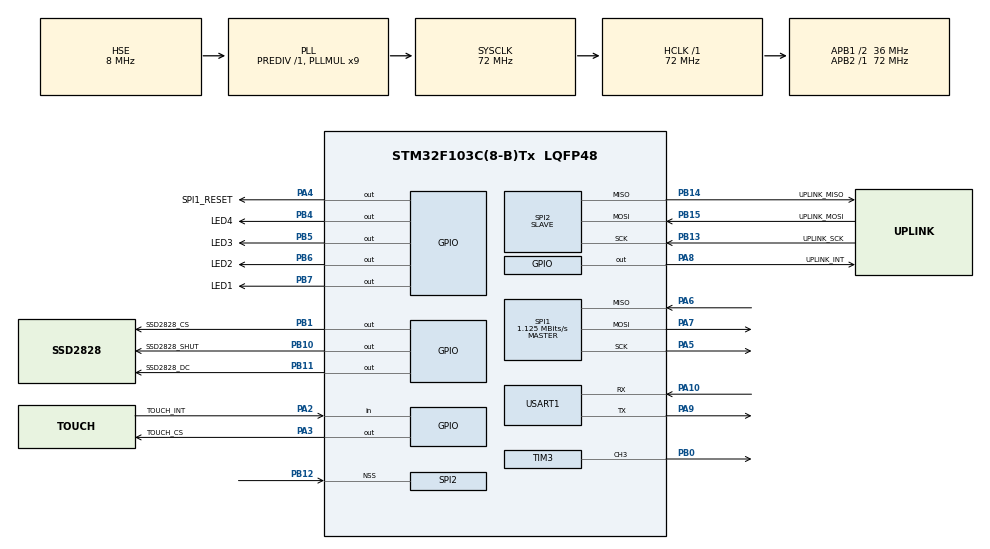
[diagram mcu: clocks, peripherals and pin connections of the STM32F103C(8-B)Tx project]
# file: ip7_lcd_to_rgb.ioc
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Dma.Request0=SPI2_TX
Dma.Request1=SPI2_RX
Dma.SPI2_RX.1.Direction=DMA_PERIPH_TO_MEMORY
Dma.SPI2_RX.1.Instance=DMA1_Channel4
Dma.SPI2_RX.1.MemDataAlignment=DMA_MDATAALIGN_BYTE
Dma.SPI2_RX.1.MemInc=DMA_MINC_ENABLE
Dma.SPI2_RX.1.Mode=DMA_NORMAL
Dma.SPI2_RX.1.PeriphDataAlignment=DMA_PDATAALIGN_BYTE
Dma.SPI2_RX.1.PeriphInc=DMA_PINC_DISABLE
Dma.SPI2_RX.1.Priority=DMA_PRIORITY_LOW
Dma.SPI2_TX.0.Direction=DMA_MEMORY_TO_PERIPH
Dma.SPI2_TX.0.Instance=DMA1_Channel5
Dma.SPI2_TX.0.MemDataAlignment=DMA_MDATAALIGN_BYTE
Dma.SPI2_TX.0.MemInc=DMA_MINC_ENABLE
Dma.SPI2_TX.0.Mode=DMA_NORMAL
Dma.SPI2_TX.0.PeriphDataAlignment=DMA_PDATAALIGN_BYTE
Dma.SPI2_TX.0.PeriphInc=DMA_PINC_DISABLE
Dma.SPI2_TX.0.Priority=DMA_PRIORITY_MEDIUM
Mcu.Family=STM32F1
Mcu.Name=STM32F103C(8-B)Tx
Mcu.Package=LQFP48
NVIC.DMA1_Channel4_IRQn=true\:1\:0\:true\:false\:true\:false\:true\:true
NVIC.DMA1_Channel5_IRQn=true\:1\:0\:true\:false\:true\:false\:true\:true
NVIC.PriorityGroup=NVIC_PRIORITYGROUP_4
NVIC.SPI2_IRQn=true\:2\:0\:true\:false\:true\:true\:true\:true
PA10.Mode=Asynchronous
PA10.Signal=USART1_RX
PA13.Mode=Serial_Wire
PA13.Signal=SYS_JTMS-SWDIO
PA14.Mode=Serial_Wire
PA14.Signal=SYS_JTCK-SWCLK
PA2.GPIO_Label=TOUCH_INT
PA2.Signal=GPIO_Input
PA3.GPIO_Label=TOUCH_CS
PA3.GPIO_PuPd=GPIO_PULLUP
PA3.GPIO_Speed=GPIO_SPEED_FREQ_HIGH
PA3.PinState=GPIO_PIN_SET
PA3.Signal=GPIO_Output
PA4.GPIO_Label=SPI1_RESET
PA4.GPIO_Speed=GPIO_SPEED_FREQ_HIGH
PA4.PinState=GPIO_PIN_SET
PA4.Signal=GPIO_Output
PA5.Mode=Full_Duplex_Master
PA5.Signal=SPI1_SCK
PA6.Mode=Full_Duplex_Master
PA6.Signal=SPI1_MISO
PA7.Mode=Full_Duplex_Master
PA7.Signal=SPI1_MOSI
PA8.GPIO_Label=UPLINK_INT
PA8.PinState=GPIO_PIN_SET
PA8.Signal=GPIO_Output
PA9.Mode=Asynchronous
PA9.Signal=USART1_TX
PB0.GPIO_ModeDefaultPP=GPIO_MODE_AF_PP
PB0.GPIO_Speed=GPIO_SPEED_FREQ_LOW
PB0.Signal=S_TIM3_CH3
PB1.GPIO_Label=SSD2828_CS
PB1.GPIO_Speed=GPIO_SPEED_FREQ_HIGH
PB1.PinState=GPIO_PIN_SET
PB1.Signal=GPIO_Output
PB10.GPIO_Label=SSD2828_SHUT
PB10.GPIO_Speed=GPIO_SPEED_FREQ_HIGH
PB10.PinState=GPIO_PIN_RESET
PB10.Signal=GPIO_Output
PB11.GPIO_Label=SSD2828_DC
PB11.GPIO_Speed=GPIO_SPEED_FREQ_HIGH
PB11.Signal=GPIO_Output
PB12.Mode=NSS_Signal_Hard_Input
PB12.Signal=SPI2_NSS
PB13.GPIO_Label=UPLINK_SCK
PB13.Mode=Full_Duplex_Slave
PB13.Signal=SPI2_SCK
PB14.GPIO_Label=UPLINK_MISO
PB14.Mode=Full_Duplex_Slave
PB14.Signal=SPI2_MISO
PB15.GPIO_Label=UPLINK_MOSI
PB15.Mode=Full_Duplex_Slave
PB15.Signal=SPI2_MOSI
PB4.GPIO_Label=LED4
PB4.PinState=GPIO_PIN_SET
PB4.Signal=GPIO_Output
PB5.GPIO_Label=LED3
PB5.PinState=GPIO_PIN_SET
PB5.Signal=GPIO_Output
PB6.GPIO_Label=LED2
PB6.PinState=GPIO_PIN_SET
PB6.Signal=GPIO_Output
PB7.GPIO_Label=LED1
PB7.PinState=GPIO_PIN_SET
PB7.Signal=GPIO_Output
PD0-OSC_IN.Mode=HSE-External-Oscillator
PD0-OSC_IN.Signal=RCC_OSC_IN
PD1-OSC_OUT.Mode=HSE-External-Oscillator
PD1-OSC_OUT.Signal=RCC_OSC_OUT
ProjectManager.HeapSize=0x200
ProjectManager.StackSize=0x400
ProjectManager.TargetToolchain=CMake
RCC.AHBFreq_Value=72000000
RCC.APB1CLKDivider=RCC_HCLK_DIV2
RCC.APB1Freq_Value=36000000
RCC.APB1TimFreq_Value=72000000
RCC.APB2Freq_Value=72000000
RCC.APB2TimFreq_Value=72000000
RCC.HCLKFreq_Value=72000000
RCC.PLLMUL=RCC_PLL_MUL9
RCC.PLLSourceVirtual=RCC_PLLSOURCE_HSE
RCC.SYSCLKFreq_VALUE=72000000
RCC.SYSCLKSource=RCC_SYSCLKSOURCE_PLLCLK
RCC.USBFreq_Value=72000000
SH.S_TIM3_CH3.0=TIM3_CH3,PWM Generation3 CH3
SPI1.BaudRatePrescaler=SPI_BAUDRATEPRESCALER_64
SPI1.CLKPhase=SPI_PHASE_1EDGE
SPI1.CLKPolarity=SPI_POLARITY_LOW
SPI1.CalculateBaudRate=1.125 MBits/s
SPI1.Direction=SPI_DIRECTION_2LINES
SPI1.Mode=SPI_MODE_MASTER
SPI1.VirtualType=VM_MASTER
SPI2.Direction=SPI_DIRECTION_2LINES
SPI2.Mode=SPI_MODE_SLAVE
SPI2.VirtualNSS=VM_NSSHARD
SPI2.VirtualType=VM_SLAVE
TIM3.Channel-PWM\ Generation3\ CH3=TIM_CHANNEL_3
TIM3.Period=2197
TIM3.Pulse-PWM\ Generation3\ CH3=1099
USART1.VirtualMode=VM_ASYNC
VP_TIM3_VS_ClockSourceINT.Mode=Internal
board=custom

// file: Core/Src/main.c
/* USER CODE BEGIN Header */
/**
  ******************************************************************************
  * @file           : main.c
  * @brief          : Main program body
  ******************************************************************************
  * @attention
  *
  * Copyright (c) 2025 STMicroelectronics.
  * All rights reserved.
  *
  * This software is licensed under terms that can be found in the LICENSE file
  * in the root directory of this software component.
  * If no LICENSE file comes with this software, it is provided AS-IS.
  *
  ******************************************************************************
  */
/* USER CODE END Header */
#include "main.h"
#include "dma.h"
#include "spi.h"
#include "tim.h"
#include "usart.h"
#include "gpio.h"

/* USER CODE BEGIN Includes */
#include <stdint.h>
#include <stdio.h>
#include "ssd2828.h"
#include "ip7_touch.h"
/* USER CODE END Includes */

void SystemClock_Config(void);

/* USER CODE BEGIN 0 */
int _write(int file, char *ptr, int len)
{
  HAL_UART_Transmit(&huart1, (uint8_t *)ptr, len, HAL_MAX_DELAY);
  return len;
}
/* USER CODE END 0 */

int main(void)
{

  /* MCU Configuration--------------------------------------------------------*/

  /* Reset of all peripherals, Initializes the Flash interface and the Systick. */
  HAL_Init();

  /* Configure the system clock */
  SystemClock_Config();

  /* Initialize all configured peripherals */
  MX_GPIO_Init();
  MX_DMA_Init();
  MX_USART1_UART_Init();
  MX_SPI1_Init();
  MX_TIM3_Init();
  MX_SPI2_Init();
  /* USER CODE BEGIN 2 */
  HAL_TIM_PWM_Start(&htim3, TIM_CHANNEL_3);
  /* USER CODE END 2 */

  /* Infinite loop */
  /* USER CODE BEGIN WHILE */
  while (1)
  {

    printf("@ ip7 lcd to rgb\r\n");

    // gpio reset pulse
    HAL_GPIO_WritePin(SPI1_RESET_GPIO_Port, SPI1_RESET_Pin, GPIO_PIN_SET);
    HAL_Delay(50);
    HAL_GPIO_WritePin(SPI1_RESET_GPIO_Port, SPI1_RESET_Pin, GPIO_PIN_RESET);
    HAL_Delay(50);
    HAL_GPIO_WritePin(SPI1_RESET_GPIO_Port, SPI1_RESET_Pin, GPIO_PIN_SET);
    HAL_Delay(50);

    // HAL_GPIO_WritePin(SSD2828_SHUT_GPIO_Port, SSD2828_SHUT_Pin, GPIO_PIN_RESET); // out of shutdown

    ssd2828_init();
    // ssd2828_init_test_txclk();

    // HAL_Delay(50);

    printf("start touch init\r\n");
    ip7_touch_init();
    printf("touch init done\r\n");

    printf("done\r\n");

    // turn low active led1
    HAL_GPIO_WritePin(LED1_GPIO_Port, LED1_Pin, GPIO_PIN_RESET);

    while(1){
      ip7_touch_poll();
      // HAL_Delay(1);
    }

    while(1){}

    /* USER CODE END WHILE */

  }
}

void SystemClock_Config(void)
{
  RCC_OscInitTypeDef RCC_OscInitStruct = {0};
  RCC_ClkInitTypeDef RCC_ClkInitStruct = {0};

  /** Initializes the RCC Oscillators according to the specified parameters
  * in the RCC_OscInitTypeDef structure.
  */
  RCC_OscInitStruct.OscillatorType = RCC_OSCILLATORTYPE_HSE;
  RCC_OscInitStruct.HSEState = RCC_HSE_ON;
  RCC_OscInitStruct.HSEPredivValue = RCC_HSE_PREDIV_DIV1;
  RCC_OscInitStruct.HSIState = RCC_HSI_ON;
  RCC_OscInitStruct.PLL.PLLState = RCC_PLL_ON;
  RCC_OscInitStruct.PLL.PLLSource = RCC_PLLSOURCE_HSE;
  RCC_OscInitStruct.PLL.PLLMUL = RCC_PLL_MUL9;
  if (HAL_RCC_OscConfig(&RCC_OscInitStruct) != HAL_OK)
  {
    Error_Handler();
  }

  /** Initializes the CPU, AHB and APB buses clocks
  */
  RCC_ClkInitStruct.ClockType = RCC_CLOCKTYPE_HCLK|RCC_CLOCKTYPE_SYSCLK
                              |RCC_CLOCKTYPE_PCLK1|RCC_CLOCKTYPE_PCLK2;
  RCC_ClkInitStruct.SYSCLKSource = RCC_SYSCLKSOURCE_PLLCLK;
  RCC_ClkInitStruct.AHBCLKDivider = RCC_SYSCLK_DIV1;
  RCC_ClkInitStruct.APB1CLKDivider = RCC_HCLK_DIV2;
  RCC_ClkInitStruct.APB2CLKDivider = RCC_HCLK_DIV1;

  if (HAL_RCC_ClockConfig(&RCC_ClkInitStruct, FLASH_LATENCY_2) != HAL_OK)
  {
    Error_Handler();
  }
}

void Error_Handler(void)
{
  __disable_irq();
  while (1)
  {
  }
}
